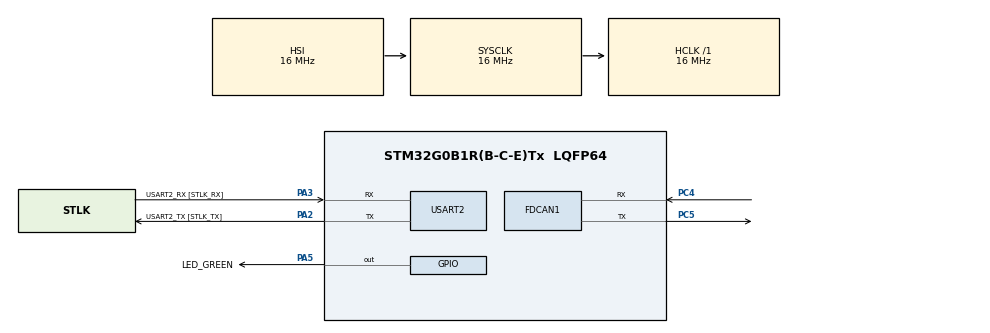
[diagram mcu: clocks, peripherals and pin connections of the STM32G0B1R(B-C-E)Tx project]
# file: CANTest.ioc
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Mcu.Family=STM32G0
Mcu.Name=STM32G0B1R(B-C-E)Tx
Mcu.Package=LQFP64
PA13.GPIO_Label=TMS
PA13.Mode=Serial_Wire
PA13.Signal=SYS_SWDIO
PA14-BOOT0.GPIO_Label=TCK
PA14-BOOT0.Mode=Serial_Wire
PA14-BOOT0.Signal=SYS_SWCLK
PA2.GPIO_Label=USART2_TX [STLK_TX]
PA2.Mode=Asynchronous
PA2.Signal=USART2_TX
PA3.GPIO_Label=USART2_RX [STLK_RX]
PA3.Mode=Asynchronous
PA3.Signal=USART2_RX
PA5.GPIO_Label=LED_GREEN
PA5.Signal=GPIO_Output
PC13.Mode=SYS_WakeUp1
PC13.Signal=SYS_WKUP2
PC14-OSC32_IN\ (PC14).Mode=LSE-External-Oscillator
PC14-OSC32_IN\ (PC14).Signal=RCC_OSC32_IN
PC15-OSC32_OUT\ (PC15).Mode=LSE-External-Oscillator
PC15-OSC32_OUT\ (PC15).Signal=RCC_OSC32_OUT
PC4.Mode=FDCAN_Activate
PC4.Signal=FDCAN1_RX
PC5.Mode=FDCAN_Activate
PC5.Signal=FDCAN1_TX
PF0-OSC_IN\ (PF0).GPIO_Label=MCO
PF0-OSC_IN\ (PF0).Mode=HSE-External-Clock-Source
PF0-OSC_IN\ (PF0).Signal=RCC_OSC_IN
ProjectManager.HeapSize=0x200
ProjectManager.StackSize=0x400
ProjectManager.TargetToolchain=STM32CubeIDE
RCC.AHBFreq_Value=16000000
RCC.CortexFreq_Value=16000000
RCC.EXTERNAL_CLOCK_VALUE=12288000
RCC.HCLKFreq_Value=16000000
RCC.HSE_VALUE=8000000
RCC.HSI48_VALUE=48000000
RCC.HSI_VALUE=16000000
RCC.SYSCLKFreq_VALUE=16000000
RCC.USBFreq_Value=48000000
RCC.VCOOutputFreq_Value=128000000
USART2.VirtualMode-Asynchronous=VM_ASYNC
VP_SYS_VS_DBSignals.Mode=DisableDeadBatterySignals
board=NUCLEO-G0B1RE

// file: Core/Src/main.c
/* USER CODE BEGIN Header */
/**
  ******************************************************************************
  * @file           : main.c
  * @brief          : Main program body
  ******************************************************************************
  * @attention
  *
  * <h2><center>&copy; Copyright (c) 2021 STMicroelectronics.
  * All rights reserved.</center></h2>
  *
  * This software component is licensed by ST under BSD 3-Clause license,
  * the "License"; You may not use this file except in compliance with the
  * License. You may obtain a copy of the License at:
  *                        opensource.org/licenses/BSD-3-Clause
  *
  ******************************************************************************
  */
/* USER CODE END Header */
#include "main.h"

/* USER CODE BEGIN Includes */
#include "canbus.h"

/* USER CODE END Includes */

FDCAN_HandleTypeDef hfdcan1;

UART_HandleTypeDef huart2;

void SystemClock_Config(void);
static void MX_GPIO_Init(void);
static void MX_USART2_UART_Init(void);
static void MX_FDCAN1_Init(void);

int main(void)
{

  /* MCU Configuration--------------------------------------------------------*/

  /* Reset of all peripherals, Initializes the Flash interface and the Systick. */
  HAL_Init();

  /* Configure the system clock */
  SystemClock_Config();

  /* Initialize all configured peripherals */
  MX_GPIO_Init();
  MX_USART2_UART_Init();
  MX_FDCAN1_Init();
  /* USER CODE BEGIN 2 */

  FDCAN_TxHeaderTypeDef txHeader;
  // initialize the tx header
  txHeader.Identifier = 0x321;
  txHeader.IdType = FDCAN_STANDARD_ID;
  txHeader.TxFrameType = FDCAN_DATA_FRAME;
  txHeader.DataLength = FDCAN_DLC_BYTES_1;
  txHeader.ErrorStateIndicator = FDCAN_ESI_ACTIVE;
  txHeader.BitRateSwitch = FDCAN_BRS_OFF;
  txHeader.FDFormat = FDCAN_CLASSIC_CAN;
  txHeader.TxEventFifoControl = FDCAN_NO_TX_EVENTS;
  txHeader.MessageMarker = 0;

  uint8_t data[1] = {0x00};
  HAL_GPIO_WritePin(LED_GREEN_GPIO_Port, LED_GREEN_Pin, 1);

  /* USER CODE END 2 */

  /* Infinite loop */
  while (1)
  {

    /* USER CODE BEGIN 3 */
    data[0] = ~data[0];

    if (HAL_FDCAN_AddMessageToTxFifoQ(&hfdcan1, &txHeader, data) != HAL_OK)
      Error_Handler();

    HAL_GPIO_TogglePin(LED_GREEN_GPIO_Port, LED_GREEN_Pin);
    HAL_Delay(100);
  }
  /* USER CODE END 3 */
}

void SystemClock_Config(void)
{
  RCC_OscInitTypeDef RCC_OscInitStruct = {0};
  RCC_ClkInitTypeDef RCC_ClkInitStruct = {0};
  RCC_PeriphCLKInitTypeDef PeriphClkInit = {0};

  /** Configure the main internal regulator output voltage
  */
  HAL_PWREx_ControlVoltageScaling(PWR_REGULATOR_VOLTAGE_SCALE1);
  /** Initializes the RCC Oscillators according to the specified parameters
  * in the RCC_OscInitTypeDef structure.
  */
  RCC_OscInitStruct.OscillatorType = RCC_OSCILLATORTYPE_HSI;
  RCC_OscInitStruct.HSIState = RCC_HSI_ON;
  RCC_OscInitStruct.HSIDiv = RCC_HSI_DIV1;
  RCC_OscInitStruct.HSICalibrationValue = RCC_HSICALIBRATION_DEFAULT;
  RCC_OscInitStruct.PLL.PLLState = RCC_PLL_NONE;
  if (HAL_RCC_OscConfig(&RCC_OscInitStruct) != HAL_OK)
  {
    Error_Handler();
  }
  /** Initializes the CPU, AHB and APB buses clocks
  */
  RCC_ClkInitStruct.ClockType = RCC_CLOCKTYPE_HCLK|RCC_CLOCKTYPE_SYSCLK
                              |RCC_CLOCKTYPE_PCLK1;
  RCC_ClkInitStruct.SYSCLKSource = RCC_SYSCLKSOURCE_HSI;
  RCC_ClkInitStruct.AHBCLKDivider = RCC_SYSCLK_DIV1;
  RCC_ClkInitStruct.APB1CLKDivider = RCC_HCLK_DIV1;

  if (HAL_RCC_ClockConfig(&RCC_ClkInitStruct, FLASH_LATENCY_0) != HAL_OK)
  {
    Error_Handler();
  }
  /** Initializes the peripherals clocks
  */
  PeriphClkInit.PeriphClockSelection = RCC_PERIPHCLK_FDCAN|RCC_PERIPHCLK_USART2;
  PeriphClkInit.Usart2ClockSelection = RCC_USART2CLKSOURCE_PCLK1;
  PeriphClkInit.FdcanClockSelection = RCC_FDCANCLKSOURCE_PCLK1;

  if (HAL_RCCEx_PeriphCLKConfig(&PeriphClkInit) != HAL_OK)
  {
    Error_Handler();
  }
}

static void MX_FDCAN1_Init(void)
{

  hfdcan1.Instance = FDCAN1;
  hfdcan1.Init.ClockDivider = FDCAN_CLOCK_DIV1;
  hfdcan1.Init.FrameFormat = FDCAN_FRAME_CLASSIC;
  hfdcan1.Init.Mode = FDCAN_MODE_NORMAL;
  hfdcan1.Init.AutoRetransmission = DISABLE;
  hfdcan1.Init.TransmitPause = DISABLE;
  hfdcan1.Init.ProtocolException = DISABLE;
  hfdcan1.Init.NominalPrescaler = 1;
  hfdcan1.Init.NominalSyncJumpWidth = 1;
  hfdcan1.Init.NominalTimeSeg1 = 2;
  hfdcan1.Init.NominalTimeSeg2 = 2;
  hfdcan1.Init.DataPrescaler = 1;
  hfdcan1.Init.DataSyncJumpWidth = 1;
  hfdcan1.Init.DataTimeSeg1 = 1;
  hfdcan1.Init.DataTimeSeg2 = 1;
  hfdcan1.Init.StdFiltersNbr = 0;
  hfdcan1.Init.ExtFiltersNbr = 0;
  hfdcan1.Init.TxFifoQueueMode = FDCAN_TX_FIFO_OPERATION;
  if (HAL_FDCAN_Init(&hfdcan1) != HAL_OK)
  {
    Error_Handler();
  }
  /* USER CODE BEGIN FDCAN1_Init 2 */

  if (HAL_FDCAN_Start(&hfdcan1) != HAL_OK) Error_Handler();

  /* USER CODE END FDCAN1_Init 2 */

}

static void MX_USART2_UART_Init(void)
{

  huart2.Instance = USART2;
  huart2.Init.BaudRate = 115200;
  huart2.Init.WordLength = UART_WORDLENGTH_8B;
  huart2.Init.StopBits = UART_STOPBITS_1;
  huart2.Init.Parity = UART_PARITY_NONE;
  huart2.Init.Mode = UART_MODE_TX_RX;
  huart2.Init.HwFlowCtl = UART_HWCONTROL_NONE;
  huart2.Init.OverSampling = UART_OVERSAMPLING_16;
  huart2.Init.OneBitSampling = UART_ONE_BIT_SAMPLE_DISABLE;
  huart2.Init.ClockPrescaler = UART_PRESCALER_DIV1;
  huart2.AdvancedInit.AdvFeatureInit = UART_ADVFEATURE_NO_INIT;
  if (HAL_UART_Init(&huart2) != HAL_OK)
  {
    Error_Handler();
  }
  if (HAL_UARTEx_SetTxFifoThreshold(&huart2, UART_TXFIFO_THRESHOLD_1_8) != HAL_OK)
  {
    Error_Handler();
  }
  if (HAL_UARTEx_SetRxFifoThreshold(&huart2, UART_RXFIFO_THRESHOLD_1_8) != HAL_OK)
  {
    Error_Handler();
  }
  if (HAL_UARTEx_DisableFifoMode(&huart2) != HAL_OK)
  {
    Error_Handler();
  }

}

static void MX_GPIO_Init(void)
{
  GPIO_InitTypeDef GPIO_InitStruct = {0};

  /* GPIO Ports Clock Enable */
  __HAL_RCC_GPIOC_CLK_ENABLE();
  __HAL_RCC_GPIOF_CLK_ENABLE();
  __HAL_RCC_GPIOA_CLK_ENABLE();

  /*Configure GPIO pin Output Level */
  HAL_GPIO_WritePin(LED_GREEN_GPIO_Port, LED_GREEN_Pin, GPIO_PIN_RESET);

  /*Configure GPIO pin : LED_GREEN_Pin */
  GPIO_InitStruct.Pin = LED_GREEN_Pin;
  GPIO_InitStruct.Mode = GPIO_MODE_OUTPUT_PP;
  GPIO_InitStruct.Pull = GPIO_NOPULL;
  GPIO_InitStruct.Speed = GPIO_SPEED_FREQ_LOW;
  HAL_GPIO_Init(LED_GREEN_GPIO_Port, &GPIO_InitStruct);

}

void Error_Handler(void)
{
  __disable_irq();
  while (1)
  {
  }
}

/************************ (C) COPYRIGHT STMicroelectronics *****END OF FILE****/
